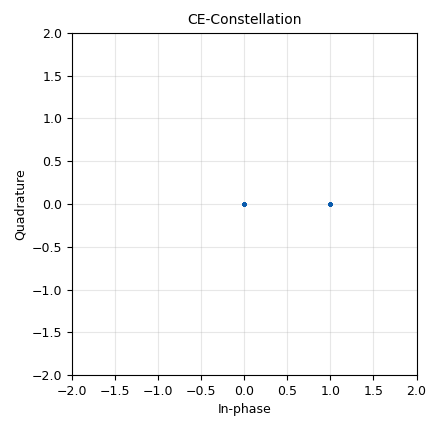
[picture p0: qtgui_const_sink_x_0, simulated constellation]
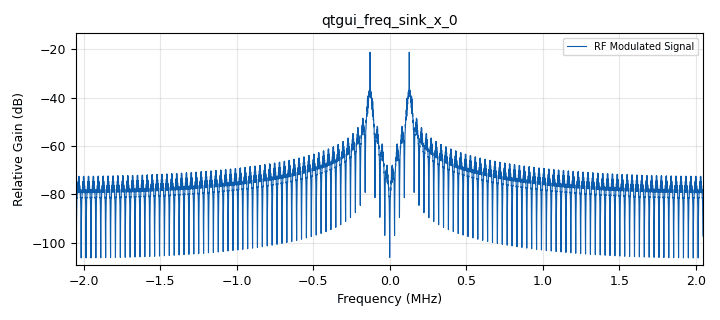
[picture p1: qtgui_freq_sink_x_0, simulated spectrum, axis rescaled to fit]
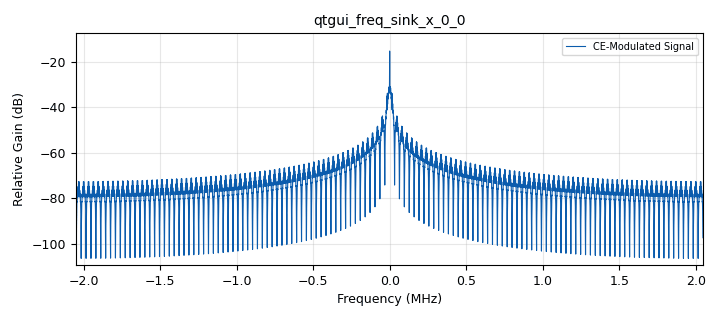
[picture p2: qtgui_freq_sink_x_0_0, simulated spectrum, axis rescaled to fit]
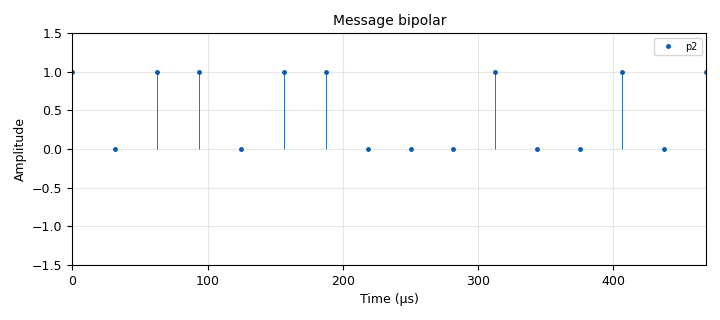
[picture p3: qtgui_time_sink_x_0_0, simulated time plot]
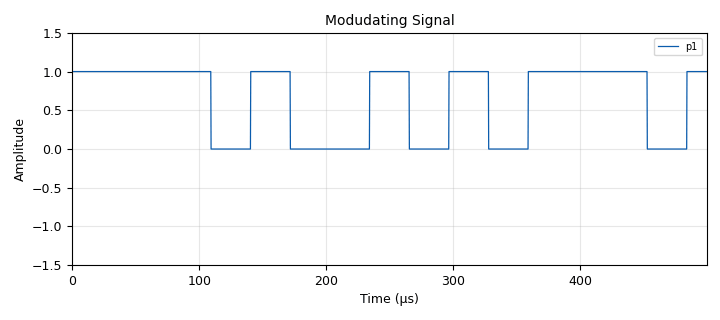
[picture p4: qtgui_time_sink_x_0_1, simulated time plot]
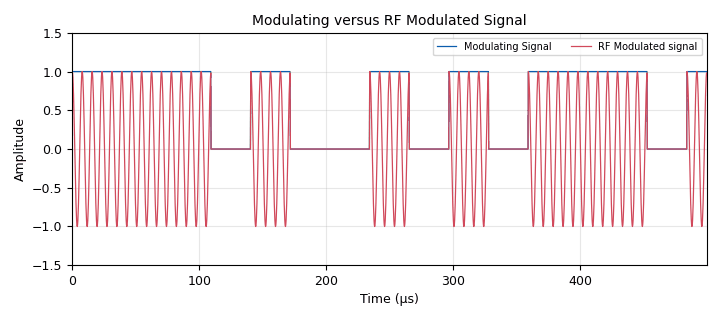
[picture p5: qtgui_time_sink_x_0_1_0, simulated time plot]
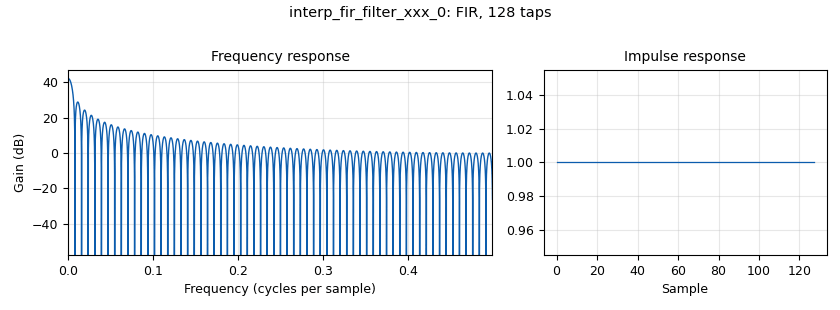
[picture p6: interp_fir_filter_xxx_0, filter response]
options:
  parameters:
    author: radiogis_director
    generate_options: qt_gui
    id: ook
    output_language: python
    title: ook
  states: {}

blocks:
- name: Rb
  id: variable
  parameters:
    value: '32000'
  states: {}
- name: Sps
  id: variable
  parameters:
    value: '128'
  states: {}
- name: fc
  id: variable_qtgui_range
  parameters:
    gui_hint: 0,0,1,1
    label: 'Carrier Freq. '
    start: '0'
    step: samp_rate/1000
    stop: samp_rate/8
    value: Rb*4
  states: {}
- name: fd
  id: variable_qtgui_range
  parameters:
    gui_hint: 0,1,1,1
    label: Deviation Freq
    start: '0'
    step: samp_rate/1000
    stop: samp_rate/8
    value: Rb
  states: {}
- name: h
  id: variable
  parameters:
    value: '[1]*Sps'
  states: {}
- name: samp_rate
  id: variable
  parameters:
    value: Rb*Sps
  states: {}
- name: Menu
  id: qtgui_tab_widget
  parameters:
    gui_hint: 4,0,1,2
    label0: Message
    label1: RF Modulated. Time Domain
    label2: RF Modulated. Freq Domain
    label3: Constellation
    num_tabs: '4'
  states: {}
- name: analog_const_source_x_0
  id: analog_const_source_x
  parameters:
    const: '0'
    type: float
  states: {}
- name: analog_random_source_x_0
  id: analog_random_source_x
  parameters:
    max: '2'
    min: '0'
    num_samps: '1000000'
    repeat: 'True'
    type: byte
  states: {}
- name: blocks_add_const_vxx_0
  id: blocks_add_const_vxx
  parameters:
    const: '-0.5'
    type: float
  states: {state: disabled}
- name: blocks_char_to_float_0
  id: blocks_char_to_float
  parameters:
    scale: '1'
  states: {}
- name: blocks_multiply_const_vxx_0
  id: blocks_multiply_const_vxx
  parameters:
    const: 2*math.pi*fd/(Rb*Sps)
    type: float
  states: {state: disabled}
- name: blocks_multiply_const_vxx_0_0
  id: blocks_multiply_const_vxx
  parameters:
    const: '2'
    type: float
  states: {state: disabled}
- name: blocks_multiply_const_vxx_0_1
  id: blocks_multiply_const_vxx
  parameters:
    const: math.pi
    type: float
  states: {state: disabled}
- name: epy_block_0
  id: epy_block
  parameters:
    _source_code: "import numpy as np\nfrom gnuradio import gr\nimport math\n\nclass blk(gr.sync_block):  \n    \"\"\"This block implements a real-valued RF Voltage Controlled Oscillator (VCO).\n\nThe block generates a cosine waveform at a fixed carrier frequency (fc), whose\namplitude and phase are controlled by the two input signals.\n\nOperation:\nAt each sample n, the output is computed as:\n    y[n] = A[n] * cos(2*pi*fc*n/samp_rate + Q[n])\n\nwhere:\n- A[n] is the amplitude control signal (first/top input)\n- Q[n] is the phase control signal in radians (second input)\n- fc is the carrier frequency in Hz\n- samp_rate is the sampling rate in samples per second\n\nInputs:\n1) First input (A):\n   This input controls the instantaneous amplitude of the output signal.\n   It can be a constant value (for fixed amplitude) or a time-varying signal\n   (for amplitude modulation).\n\n2) Second input (Q):\n   This input controls the instantaneous phase (in radians) of the oscillator.\n   It allows phase modulation of the carrier. The signal should be continuous\n   to avoid phase discontinuities unless abrupt phase changes are desired.\n\nOutput:\n- A real-valued RF signal (cosine wave) at frequency fc, with amplitude A[n]\n  and phase offset Q[n].\n\nParameters:\n- fc (float): Carrier frequency in Hz. It should be less than half the sampling\n  rate to avoid aliasing (fc < samp_rate/2).\n- samp_rate (float): Sampling rate in samples per second.\n\nInternal behavior:\n- The block keeps track of a running sample index (n_m) to ensure phase\n  continuity across consecutive calls to the work() function.\n\nUsage recommendations:\n- Ensure that fc is properly chosen according to the sampling theorem.\n- Use a smooth phase input (Q) for continuous phase modulation.\n- If only a fixed phase is needed, Q can be set to zero.\n- For constant amplitude, provide a constant value at input A.\n- This block is suitable for generating AM/PM modulated carriers or as a\n  building component in RF simulation systems.\n\"\"\"\n\n    def __init__(self, fc=128000, samp_rate=320000):  \n        gr.sync_block.__init__(\n            self,\n            name='e_RF_VCO_ff',   \n            in_sig=[np.float32, np.float32],\n            out_sig=[np.float32]\n        )\n        self.fc = fc\n        self.samp_rate = samp_rate\n        self.n_m=0\n\n    def work(self, input_items, output_items):\n        A=input_items[0]\n        Q=input_items[1]\n        y=output_items[0]\n        N=len(A)\n        n=np.linspace(self.n_m,self.n_m+N-1,N)\n        self.n_m += N\n        y[:]=A*np.cos(2*math.pi*self.fc*n/self.samp_rate+Q)\n        return len(output_items[0])\n\n\n"
    fc: fc
    samp_rate: samp_rate
  states: {}
- name: epy_block_0_0
  id: epy_block
  parameters:
    _source_code: |
      import numpy as np
      from gnuradio import gr
      import math

      class blk(gr.sync_block):  
          """This block implements a complex-envelope (CE) or baseband Voltage Controlled Oscillator (VCO).

      The block generates a complex exponential signal whose amplitude and phase are
      directly controlled by the two input signals. It produces the complex baseband
      representation of a sinusoidal signal.

      Operation:
      At each sample n, the output is computed as:
          y[n] = A[n] * exp(j * Q[n])

      where:
      - A[n] is the amplitude control signal (first/top input)
      - Q[n] is the phase control signal in radians (second input)
      - j is the imaginary unit

      Inputs:
      1) First input (A):
         This input controls the instantaneous amplitude (magnitude) of the output
         complex signal. It can be constant or time-varying, enabling amplitude
         modulation.

      2) Second input (Q):
         This input controls the instantaneous phase in radians. It defines the
         angle of the complex exponential and enables phase or frequency modulation.
         For frequency modulation, Q[n] should be the accumulated phase
         (i.e., the integral of instantaneous frequency).

      Output:
      - A complex-valued signal (complex64) representing the baseband (complex envelope)
        of a sinusoidal waveform. The real part corresponds to the in-phase (I)
        component and the imaginary part to the quadrature (Q) component.

      Parameters:
      - This block does not define internal parameters such as carrier frequency or
        sampling rate. These must be implicitly handled by how the phase input Q[n]
        is generated.

      Usage recommendations:
      - To generate a constant-frequency tone, use:
            Q[n] = 2*pi*f*n/fs
      - For frequency modulation (FM), provide Q[n] as the cumulative sum (integral)
        of the desired instantaneous frequency.
      - Ensure phase continuity in Q[n] to avoid discontinuities in the output signal.
      - If constant amplitude is desired, set A[n] to a fixed value (e.g., 1.0).
      - This block is especially useful in baseband simulations, digital modulation
        schemes, and complex signal processing systems."""

          def __init__(self,):  
              gr.sync_block.__init__(
                  self,
                  name='e_CE_VCO_fc',   
                  in_sig=[np.float32, np.float32],
                  out_sig=[np.complex64]
              )
              
          def work(self, input_items, output_items):
              A=input_items[0]
              Q=input_items[1]
              y=output_items[0]
              N=len(A)
              y[:]=A*np.exp(1j*Q)
              return len(output_items[0])
  states: {}
- name: epy_block_0_1
  id: epy_block
  parameters:
    _source_code: |
      """
      Embedded Python Blocks:

      Each time this file is saved, GRC will instantiate the first class it finds
      to get ports and parameters of your block. The arguments to __init__  will
      be the parameters. All of them are required to have default values!
      """

      import numpy as np
      from gnuradio import gr


      class blk(gr.sync_block):  # other base classes are basic_block, decim_block, interp_block
          """Embedded Python Block example - a simple multiply const"""

          def __init__(self,):  # only default arguments here
              """arguments to this function show up as parameters in GRC"""
              gr.sync_block.__init__(
                  self,
                  name='e_Acum',   # will show up in GRC
                  in_sig=[np.float32],
                  out_sig=[np.float32]
              )
              self.acum=0
              
          def work(self, input_items, output_items):
              x=input_items[0]
              y= output_items[0]


              y[:]=self.acum+np.cumsum(x)
              self.acum=y[-1]
              return len(y)
  states: {state: disabled}
- name: import_0
  id: import
  parameters:
    imports: import math
  states: {}
- name: import_0_0
  id: import
  parameters:
    imports: import numpy as np
  states: {}
- name: interp_fir_filter_xxx_0
  id: interp_fir_filter_xxx
  parameters:
    interp: Sps
    taps: h
    type: fff
  states: {}
- name: qtgui_const_sink_x_0
  id: qtgui_const_sink_x
  parameters:
    gui_hint: Menu@3:3,1,1,1
    name: '"CE-Constellation"'
    size: '1024'
    type: complex
    width1: '8'
  states: {}
- name: qtgui_freq_sink_x_0
  id: qtgui_freq_sink_x
  parameters:
    average: '0.05'
    bw: samp_rate
    fc: '0'
    fftsize: 1024*8
    gui_hint: Menu@2:2,1,1,1
    label1: RF Modulated Signal
    type: float
    width1: '2'
    ymax: '-35'
    ymin: '-65'
  states: {}
- name: qtgui_freq_sink_x_0_0
  id: qtgui_freq_sink_x
  parameters:
    average: '0.05'
    bw: samp_rate
    fc: '0'
    fftsize: 1024*8
    gui_hint: Menu@2:3,1,1,1
    label1: CE-Modulated Signal
    type: complex
    width1: '2'
    ymax: '-35'
    ymin: '-65'
  states: {}
- name: qtgui_time_sink_x_0_0
  id: qtgui_time_sink_x
  parameters:
    gui_hint: Menu@0:3,1,1,1
    label1: p2
    marker1: '0'
    name: '"Message bipolar"'
    size: '16'
    srate: Rb
    stemplot: 'True'
    type: float
    width1: '3'
    ymax: '1.5'
    ymin: '-1.5'
  states: {}
- name: qtgui_time_sink_x_0_1
  id: qtgui_time_sink_x
  parameters:
    gui_hint: Menu@0:4,1,1,1
    label1: p1
    name: Modudating Signal
    size: 16*Sps
    srate: samp_rate
    type: float
    width1: '3'
    ymax: '1.5'
    ymin: '-1.5'
  states: {}
- name: qtgui_time_sink_x_0_1_0
  id: qtgui_time_sink_x
  parameters:
    gui_hint: Menu@1:2,1,1,1
    label1: Modulating Signal
    label2: RF Modulated signal
    name: Modulating versus RF Modulated Signal
    nconnections: '2'
    size: 16*Sps
    srate: samp_rate
    type: float
    width1: '4'
    width2: '2'
    ymax: '1.5'
    ymin: '-1.5'
  states: {}
- name: qtgui_time_sink_x_0_1_0_0
  id: qtgui_time_sink_x
  parameters:
    gui_hint: Menu@1:3,1,1,1
    label1: I-Signal
    label2: Q-signal
    name: CE Modulated Signal
    size: 16*Sps
    srate: samp_rate
    type: complex
    width1: '2'
    width2: '2'
    ymax: '1.5'
    ymin: '-1.5'
  states: {}
- name: virtual_sink_0_0
  id: virtual_sink
  parameters:
    stream_id: p2
  states: {}
- name: virtual_sink_0_0_0
  id: virtual_sink
  parameters:
    stream_id: p3
  states: {}
- name: virtual_sink_0_0_0_0
  id: virtual_sink
  parameters:
    stream_id: p4
  states: {}
- name: virtual_sink_0_0_0_0_0
  id: virtual_sink
  parameters:
    stream_id: p4b
  states: {}
- name: virtual_source_0_0
  id: virtual_source
  parameters:
    stream_id: p2
  states: {}
- name: virtual_source_0_1
  id: virtual_source
  parameters:
    stream_id: p3
  states: {}
- name: virtual_source_0_1_0
  id: virtual_source
  parameters:
    stream_id: p4
  states: {}
- name: virtual_source_0_1_0_0
  id: virtual_source
  parameters:
    stream_id: p4b
  states: {}

connections:
- [analog_const_source_x_0, '0', epy_block_0, '1']
- [analog_const_source_x_0, '0', epy_block_0_0, '1']
- [analog_random_source_x_0, '0', blocks_char_to_float_0, '0']
- [blocks_add_const_vxx_0, '0', blocks_multiply_const_vxx_0_0, '0']
- [blocks_char_to_float_0, '0', blocks_add_const_vxx_0, '0']
- [blocks_char_to_float_0, '0', interp_fir_filter_xxx_0, '0']
- [blocks_char_to_float_0, '0', virtual_sink_0_0, '0']
- [blocks_multiply_const_vxx_0_0, '0', interp_fir_filter_xxx_0, '0']
- [blocks_multiply_const_vxx_0_0, '0', virtual_sink_0_0, '0']
- [epy_block_0, '0', virtual_sink_0_0_0_0, '0']
- [epy_block_0_0, '0', virtual_sink_0_0_0_0_0, '0']
- [epy_block_0_1, '0', blocks_multiply_const_vxx_0, '0']
- [interp_fir_filter_xxx_0, '0', epy_block_0, '0']
- [interp_fir_filter_xxx_0, '0', epy_block_0_0, '0']
- [interp_fir_filter_xxx_0, '0', epy_block_0_1, '0']
- [interp_fir_filter_xxx_0, '0', virtual_sink_0_0_0, '0']
- [virtual_source_0_0, '0', qtgui_time_sink_x_0_0, '0']
- [virtual_source_0_1, '0', qtgui_time_sink_x_0_1, '0']
- [virtual_source_0_1, '0', qtgui_time_sink_x_0_1_0, '0']
- [virtual_source_0_1_0, '0', qtgui_freq_sink_x_0, '0']
- [virtual_source_0_1_0, '0', qtgui_time_sink_x_0_1_0, '1']
- [virtual_source_0_1_0_0, '0', qtgui_const_sink_x_0, '0']
- [virtual_source_0_1_0_0, '0', qtgui_freq_sink_x_0_0, '0']
- [virtual_source_0_1_0_0, '0', qtgui_time_sink_x_0_1_0_0, '0']

metadata:
  file_format: 1
  grc_version: v3.10.11.0-89-ga17f69e7
